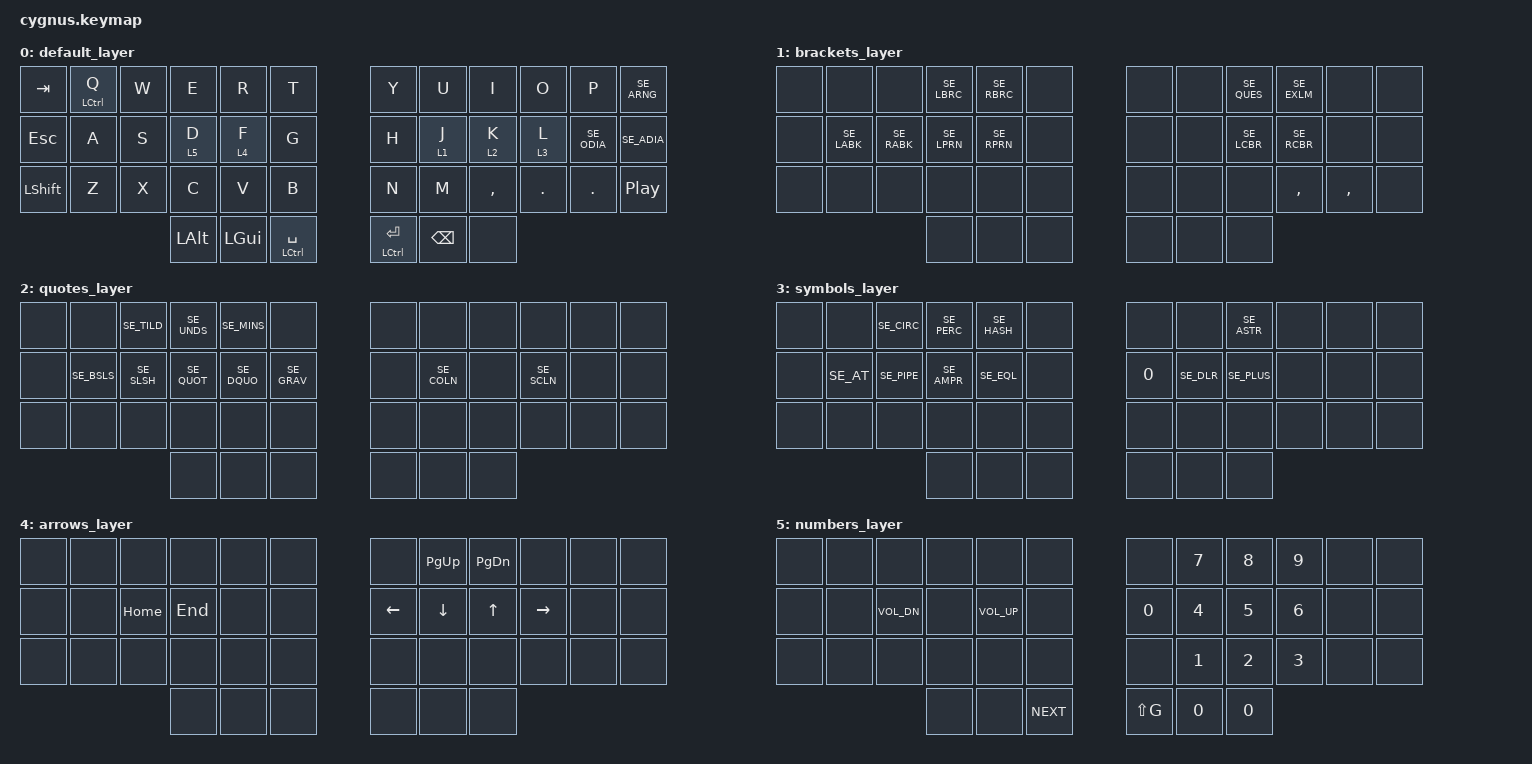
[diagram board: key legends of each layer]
/*
 * Copyright (c) 2023 The ZMK Contributors
 *
 * SPDX-License-Identifier: MIT
 */

#include <behaviors.dtsi>
#include <dt-bindings/zmk/keys.h>
#include <dt-bindings/zmk/bt.h>
#include <dt-bindings/zmk/outputs.h>
#include <dt-bindings/zmk/reset.h>
#include "boards/shields/cygnus/keys_se.h"

#define BASE 0
#define BRACKETS 1
#define QUOTES 2
#define SYMBOLS 3
#define ARROWS 4
#define NUMBERS 5

/ {
    behaviors {
        hm: homerow_mods {
            compatible = "zmk,behavior-hold-tap";
            label = "HOMEROW_MODS";
            #binding-cells = <2>;
            tapping-term-ms = <200>;
            quick-tap-ms = <0>;
            flavor = "tap-preferred";
            bindings = <&kp>, <&kp>;
        };
    };

    combos {
        compatible = "zmk,combos";
        combo_bootloader_left {
            timeout-ms = <50>;
            key-positions = <0 16 4>; // TAB + SHIFT + F
            bindings = <&bootloader>;
            layers = <0>;
        };
        
        combo_bootloader_right {
            timeout-ms = <50>;
            key-positions = <19 35 11>; // J + MEDIA PLAY + Å
            bindings = <&bootloader>;
            layers = <0>;
        };
    };

    keymap {
        compatible = "zmk,keymap";

        default_layer {
            // ┌─────┬─────┬─────┬─────┬─────┬─────┐   ┌─────┬─────┬─────┬─────┬─────┬─────┐
            // │ TAB │CTRL+│  W  │  E  │  R  │  T  │   │  Y  │  U  │  I  │  O  │  P  │  Å  │
            // │     │  Q  │     │     │     │     │   │     │     │     │     │     │     │
            // ├─────┼─────┼─────┼─────┼─────┼─────┤   ├─────┼─────┼─────┼─────┼─────┼─────┤
            // │ ESC │  A  │  S  │  D  │  F  │  G  │   │  H  │  J  │  K  │  L  │  Ö  │  Ä  │
            // │     │     │     │NUM  │ARROW│     │   │     │BRACKT│QUOT │SYMBL│     │     │
            // ├─────┼─────┼─────┼─────┼─────┼─────┤   ├─────┼─────┼─────┼─────┼─────┼─────┤
            // │SHIFT│  Z  │  X  │  C  │  V  │  B  │   │  N  │  M  │  ,  │  .  │  .  │MEDIA│
            // │     │     │     │     │     │     │   │     │     │     │     │     │PLAY │
            // └─────┴─────┴─────┼─────┼─────┼─────┤   ├─────┼─────┼─────┼─────┴─────┴─────┘
            //                   │ ALT │ GUI │CTRL │   │CTRL │BKSPC│     │
            //                   │     │     │SPACE│   │ENTER│     │     │
            //                   └─────┴─────┴─────┘   └─────┴─────┴─────┘

            bindings = <
                &kp TAB     &hm LCTRL Q   &kp W   &kp E       &kp R       &kp T       &kp Y   &kp U       &kp I       &kp O       &kp P   &kp SE_ARNG
                &kp ESC     &kp A         &kp S   &lt 5 D     &lt 4 F     &kp G       &kp H   &lt 1 J     &lt 2 K     &lt 3 L     &kp SE_ODIA &kp SE_ADIA
                &kp LSHFT   &kp Z         &kp X   &kp C       &kp V       &kp B       &kp N   &kp M       &kp COMMA   &kp DOT     &kp DOT &kp C_PP
                                                  &kp LALT    &kp LGUI    &hm LCTRL SPACE     &hm LCTRL RET &kp BSPC  &none
            >;
        };

        brackets_layer {
            // ┌─────┬─────┬─────┬─────┬─────┬─────┐   ┌─────┬─────┬─────┬─────┬─────┬─────┐
            // │     │     │     │  [  │  ]  │     │   │     │     │  ?  │  !  │     │     │
            // ├─────┼─────┼─────┼─────┼─────┼─────┤   ├─────┼─────┼─────┼─────┼─────┼─────┤
            // │     │  <  │  >  │  (  │  )  │     │   │     │     │  {  │  }  │     │     │
            // ├─────┼─────┼─────┼─────┼─────┼─────┤   ├─────┼─────┼─────┼─────┼─────┼─────┤
            // │     │     │     │     │     │     │   │     │     │     │  ,  │  ,  │     │
            // └─────┴─────┴─────┼─────┼─────┼─────┤   ├─────┼─────┼─────┼─────┴─────┴─────┘
            //                   │     │     │     │   │     │     │     │
            //                   └─────┴─────┴─────┘   └─────┴─────┴─────┘

            bindings = <
                &none       &none       &none       &kp SE_LBRC   &kp SE_RBRC   &none           &none   &none       &kp SE_QUES   &kp SE_EXLM   &none   &none
                &none       &kp SE_LABK &kp SE_RABK &kp SE_LPRN   &kp SE_RPRN   &none           &none   &none       &kp SE_LCBR   &kp SE_RCBR   &none   &none
                &none       &none       &none       &none         &none         &none           &none   &none       &none         &kp COMMA     &kp COMMA &none
                                                    &none         &none         &none           &none   &none       &none
            >;
        };

        quotes_layer {
            // ┌─────┬─────┬─────┬─────┬─────┬─────┐   ┌─────┬─────┬─────┬─────┬─────┬─────┐
            // │     │     │  ~  │  _  │  -  │     │   │     │     │     │     │     │     │
            // ├─────┼─────┼─────┼─────┼─────┼─────┤   ├─────┼─────┼─────┼─────┼─────┼─────┤
            // │     │  \  │  /  │  '  │  "  │  `  │   │     │  :  │     │  ;  │     │     │
            // ├─────┼─────┼─────┼─────┼─────┼─────┤   ├─────┼─────┼─────┼─────┼─────┼─────┤
            // │     │     │     │     │     │     │   │     │     │     │     │     │     │
            // └─────┴─────┴─────┼─────┼─────┼─────┤   ├─────┼─────┼─────┼─────┴─────┴─────┘
            //                   │     │     │     │   │     │     │     │
            //                   └─────┴─────┴─────┘   └─────┴─────┴─────┘

            bindings = <
                &none       &none       &kp SE_TILD &kp SE_UNDS   &kp SE_MINS   &none           &none   &none       &none       &none         &none   &none
                &none       &kp SE_BSLS &kp SE_SLSH &kp SE_QUOT   &kp SE_DQUO   &kp SE_GRAV     &none   &kp SE_COLN &none       &kp SE_SCLN   &none   &none
                &none       &none       &none       &none         &none         &none           &none   &none       &none       &none         &none   &none
                                                    &none         &none         &none           &none   &none       &none
            >;
        };

        symbols_layer {
            // ┌─────┬─────┬─────┬─────┬─────┬─────┐   ┌─────┬─────┬─────┬─────┬─────┬─────┐
            // │     │     │  ^  │  %  │  #  │     │   │     │     │  *  │     │     │     │
            // ├─────┼─────┼─────┼─────┼─────┼─────┤   ├─────┼─────┼─────┼─────┼─────┼─────┤
            // │     │  @  │  |  │  &  │  =  │     │   │  0  │  $  │  +  │     │     │     │
            // ├─────┼─────┼─────┼─────┼─────┼─────┤   ├─────┼─────┼─────┼─────┼─────┼─────┤
            // │     │     │     │     │     │     │   │     │     │     │     │     │     │
            // └─────┴─────┴─────┼─────┼─────┼─────┤   ├─────┼─────┼─────┼─────┴─────┴─────┘
            //                   │     │     │     │   │     │     │     │
            //                   └─────┴─────┴─────┘   └─────┴─────┴─────┘

            bindings = <
                &none       &none       &kp SE_CIRC &kp SE_PERC   &kp SE_HASH   &none           &none   &none       &kp SE_ASTR   &none         &none   &none
                &none       &kp SE_AT   &kp SE_PIPE &kp SE_AMPR   &kp SE_EQL    &none           &kp N0  &kp SE_DLR  &kp SE_PLUS   &none         &none   &none
                &none       &none       &none       &none         &none         &none           &none   &none       &none         &none         &none   &none
                                                    &none         &none         &none           &none   &none       &none
            >;
        };

        arrows_layer {
            // ┌─────┬─────┬─────┬─────┬─────┬─────┐   ┌─────┬─────┬─────┬─────┬─────┬─────┐
            // │     │     │     │     │     │     │   │     │PG_UP│PG_DN│     │RGB  │RGB  │
            // │     │     │     │     │     │     │   │     │     │     │     │ON   │MODE │
            // ├─────┼─────┼─────┼─────┼─────┼─────┤   ├─────┼─────┼─────┼─────┼─────┼─────┤
            // │     │     │HOME │END  │     │     │   │LEFT │DOWN │UP   │RIGHT│     │     │
            // ├─────┼─────┼─────┼─────┼─────┼─────┤   ├─────┼─────┼─────┼─────┼─────┼─────┤
            // │     │     │     │     │     │     │   │     │     │     │     │     │     │
            // └─────┴─────┴─────┼─────┼─────┼─────┤   ├─────┼─────┼─────┼─────┴─────┴─────┘
            //                   │     │     │     │   │     │     │     │
            //                   └─────┴─────┴─────┘   └─────┴─────┴─────┘

            bindings = <
                &none       &none       &none       &none         &none         &none           &none       &kp PG_UP   &kp PG_DN   &none         &none   &none
                &none       &none       &kp HOME    &kp END       &none         &none           &kp LEFT    &kp DOWN    &kp UP      &kp RIGHT     &none   &none
                &none       &none       &none       &none         &none         &none           &none       &none       &none       &none         &none   &none
                                                    &none         &none         &none           &none       &none       &none
            >;
        };

        numbers_layer {
            // ┌─────┬─────┬─────┬─────┬─────┬─────┐   ┌─────┬─────┬─────┬─────┬─────┬─────┐
            // │     │     │     │     │     │     │   │     │  7  │  8  │  9  │     │     │
            // ├─────┼─────┼─────┼─────┼─────┼─────┤   ├─────┼─────┼─────┼─────┼─────┼─────┤
            // │     │     │VOL- │     │VOL+ │     │   │  0  │  4  │  5  │  6  │     │     │
            // ├─────┼─────┼─────┼─────┼─────┼─────┤   ├─────┼─────┼─────┼─────┼─────┼─────┤
            // │     │     │     │     │     │     │   │     │  1  │  2  │  3  │     │     │
            // └─────┴─────┴─────┼─────┼─────┼─────┤   ├─────┼─────┼─────┼─────┴─────┴─────┘
            //                   │     │     │MEDIA│   │SHIFT│  0  │  0  │
            //                   │     │     │NEXT │   │+G   │     │     │
            //                   └─────┴─────┴─────┘   └─────┴─────┴─────┘

            bindings = <
                &none       &none       &none       &none         &none         &none           &none       &kp N7      &kp N8      &kp N9      &none   &none
                &none       &none       &kp C_VOL_DN &none        &kp C_VOL_UP  &none           &kp N0      &kp N4      &kp N5      &kp N6      &none   &none
                &none       &none       &none       &none         &none         &none           &none       &kp N1      &kp N2      &kp N3      &none   &none
                                                    &none         &none         &kp C_NEXT      &kp LS(G)   &kp N0      &kp N0
            >;
        };
    };
}; 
